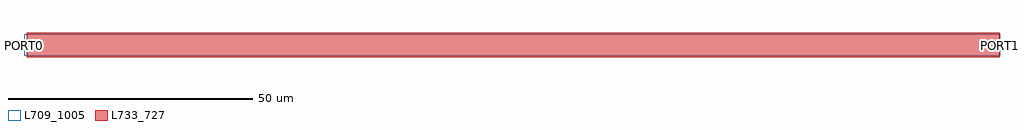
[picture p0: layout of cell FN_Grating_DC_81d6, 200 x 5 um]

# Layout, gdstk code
import gdstk
lib = gdstk.Library(unit=1e-6, precision=1e-09)
def R(c, l, rs):  # rectangles x0, y0, x1, y1
    for r in rs: c.add(gdstk.rectangle(r[:2], r[2:], *l))
def A(c, l, x, y, w, h, nx, ny, dx, dy):  # array of equal rectangles
    R(c, l, [(x+i*dx, y+j*dy, x+i*dx+w, y+j*dy+h) for i in range(nx) for j in range(ny)])
L709_1005 = (709, 1005)
L733_727 = (733, 727)

fn_grating_dc_81d6 = lib.new_cell('FN_Grating_DC_81d6')
R(fn_grating_dc_81d6, L709_1005, [(0,-2.25,200,2.25)])
A(fn_grating_dc_81d6, L733_727, 0.53, -2.5, 0.445, 5, 366, 1, 0.545, 0)
fn_grating_dc_81d6.add(gdstk.Label('PORT0', (0,0), layer=1001, texttype=3))
fn_grating_dc_81d6.add(gdstk.Label('PORT1', (200,0), layer=1001, texttype=3))
fn_grating_dc_81d6.add(gdstk.Label('sub!', (0,0), layer=1002, texttype=6))

lib.write_gds('FN_Grating_DC_81d6.gds')
